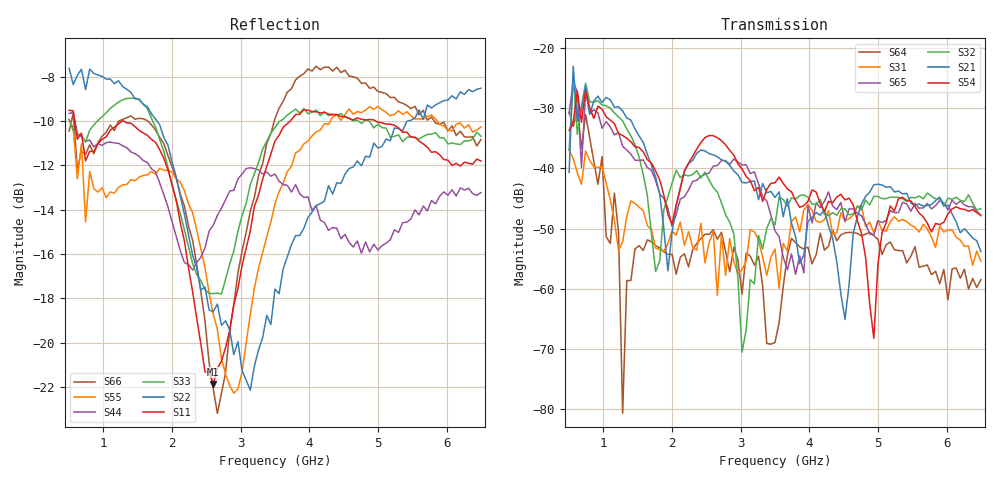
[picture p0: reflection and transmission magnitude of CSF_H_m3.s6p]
!Keysight Technologies,M9804A,MY58100912,A.14.10.03
!Date: Thursday, April 27, 2023 10:28:33
!Correction: S11(C  6-Port  )
!S12(C  6-Port  )
!S13(C  6-Port  )
!S14(C  6-Port  )
!S15(C  6-Port  )
!S16(C  6-Port  )
!S21(C  6-Port  )
!S22(C  6-Port  )
!S23(C  6-Port  )
!S24(C  6-Port  )
!S25(C  6-Port  )
!S26(C  6-Port  )
!S31(C  6-Port  )
!S32(C  6-Port  )
!S33(C  6-Port  )
!S34(C  6-Port  )
!S35(C  6-Port  )
!S36(C  6-Port  )
!S41(C  6-Port  )
!S42(C  6-Port  )
!S43(C  6-Port  )
!S44(C  6-Port  )
!S45(C  6-Port  )
!S46(C  6-Port  )
!S51(C  6-Port  )
!S52(C  6-Port  )
!S53(C  6-Port  )
!S54(C  6-Port  )
!S55(C  6-Port  )
!S56(C  6-Port  )
!S61(C  6-Port  )
!S62(C  6-Port  )
!S63(C  6-Port  )
!S64(C  6-Port  )
!S65(C  6-Port  )
!S66(C  6-Port  )
!S6P File: Measurement: :
# Hz S  RI  R 50
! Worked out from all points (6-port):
!   101 points, 500 MHz to 6.5 GHz, reference 50 ohm
!   strongest paths, dB at 500 MHz, 2 GHz, 3.5 GHz, 5 GHz, 6.5 GHz:
!     S54: -33.7, -49.3, -42.4, -55.9, -47.7
!     S21: -40.7, -50.5, -44.8, -42.6, -53.8
!     S32: -36.9, -42.4, -49.4, -44.7, -46.7
!     S65: -30.9, -49.6, -50.4, -48.7, -47.9
!     S31: -36.9, -50.4, -53.4, -48.7, -55.4
!     S64: -30.6, -54.3, -68.9, -51.8, -58.5
!   lowest |S11| = -21.9 dB at 2.6 GHz (marker M1), VSWR 1.18, Z = 42.8 + j1.94 ohm
!   |S11| at or under -10 dB: 581.5 MHz to 1.274 GHz (692.4 MHz wide, 74.6 % of centre); 1.289 GHz to 3.721 GHz (2.431 GHz wide, 97.1 % of centre); 4.968 GHz to end of sweep
